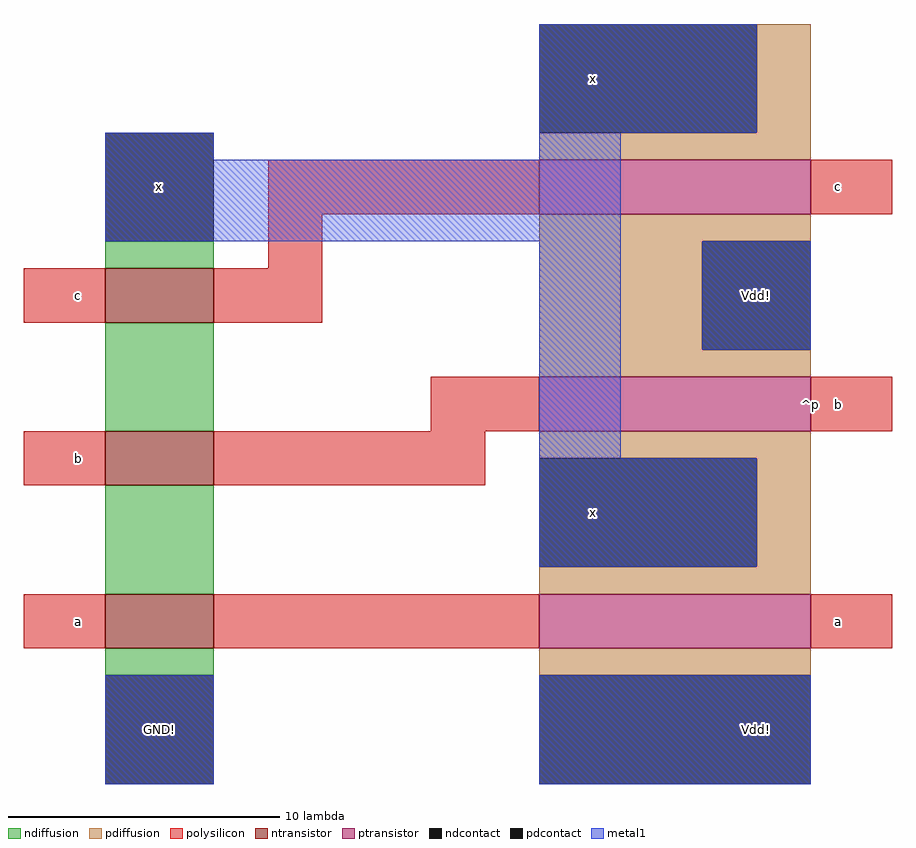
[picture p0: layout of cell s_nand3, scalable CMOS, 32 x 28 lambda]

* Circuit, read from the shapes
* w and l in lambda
.subckt s_nand3 GND! Vdd! a b c x
M1 n1 a GND! VSUBS nfet w=4 l=2
M2 n2 b n1 VSUBS nfet w=4 l=2
M3 x c n2 VSUBS nfet w=4 l=2
M4 x a Vdd! NWELL pfet w=10 l=2
M5 Vdd! b x NWELL pfet w=10 l=2
M6 x c Vdd! NWELL pfet w=10 l=2
.ends

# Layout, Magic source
magic
tech scmos
<< ndiffusion >>
rect -66 500 -62 501
rect -66 494 -62 498
rect -66 488 -62 492
rect -66 485 -62 486
<< pdiffusion >>
rect -42 505 -40 509
rect -50 504 -40 505
rect -50 501 -40 502
rect -50 497 -44 501
rect -50 496 -40 497
rect -50 493 -40 494
rect -42 489 -40 493
rect -50 488 -40 489
rect -50 485 -40 486
<< ntransistor >>
rect -66 498 -62 500
rect -66 492 -62 494
rect -66 486 -62 488
<< ptransistor >>
rect -50 502 -40 504
rect -50 494 -40 496
rect -50 486 -40 488
<< polysilicon >>
rect -60 502 -50 504
rect -40 502 -37 504
rect -60 500 -58 502
rect -69 498 -66 500
rect -62 498 -58 500
rect -54 494 -50 496
rect -40 494 -37 496
rect -69 492 -66 494
rect -62 492 -52 494
rect -69 486 -66 488
rect -62 486 -50 488
rect -40 486 -37 488
<< ndcontact >>
rect -66 501 -62 505
rect -66 481 -62 485
<< pdcontact >>
rect -50 505 -42 509
rect -44 497 -40 501
rect -50 489 -42 493
rect -50 481 -40 485
<< metal1 >>
rect -50 505 -42 509
rect -66 504 -62 505
rect -50 504 -47 505
rect -66 501 -47 504
rect -50 493 -47 501
rect -44 497 -40 501
rect -50 489 -42 493
rect -66 481 -62 485
rect -50 481 -40 485
<< labels >>
rlabel polysilicon -67 487 -67 487 3 a
rlabel polysilicon -67 493 -67 493 3 b
rlabel polysilicon -67 499 -67 499 3 c
rlabel polysilicon -39 487 -39 487 3 a
rlabel polysilicon -39 495 -39 495 3 b
rlabel polysilicon -39 503 -39 503 3 c
rlabel space -43 480 -37 510 3 ^p
rlabel space -69 481 -66 505 7 ^n
rlabel ndcontact -64 503 -64 503 4 x
rlabel ndcontact -64 483 -64 483 5 GND!
rlabel pdcontact -42 499 -42 499 5 Vdd!
rlabel pdcontact -48 491 -48 491 1 x
rlabel pdcontact -48 507 -48 507 5 x
rlabel pdcontact -42 483 -42 483 5 Vdd!
<< end >>
